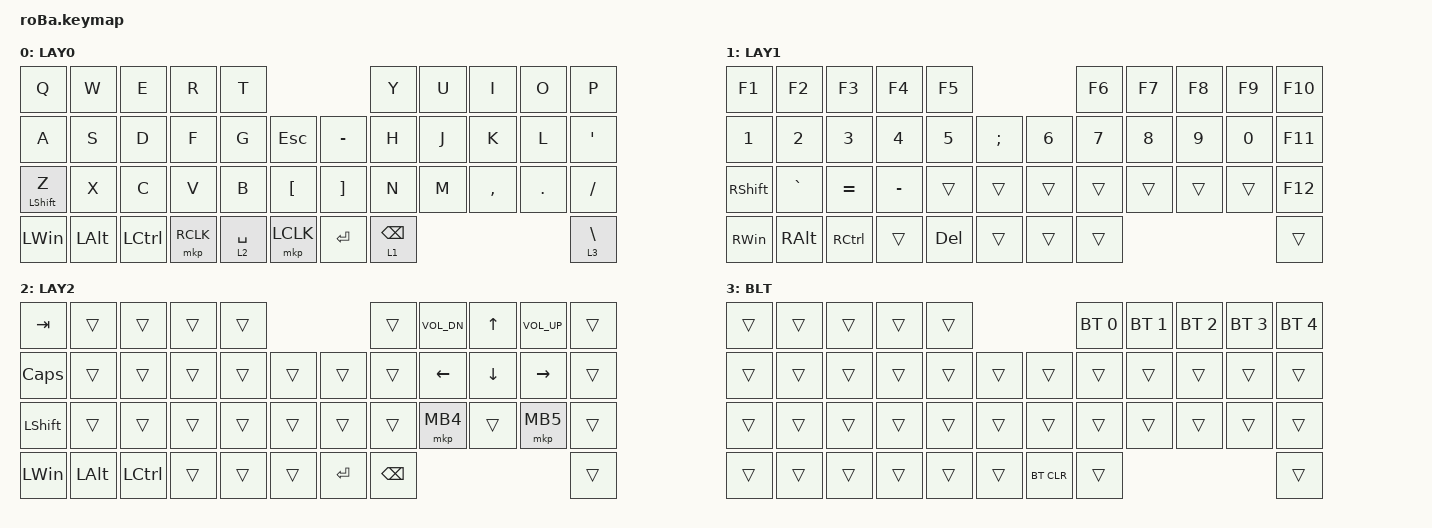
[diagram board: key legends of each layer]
#include <behaviors.dtsi>
#include <dt-bindings/zmk/bt.h>
#include <dt-bindings/zmk/keys.h>
#include <dt-bindings/zmk/pointing.h>

&mt {
    flavor = "balanced";
    quick-tap-ms = <0>;
};

&trackball {
    automouse-layer = <0>;
    scroll-layers = <2>;

    // arrows {
    //     layers = <3>;
    //     bindings =
    //         <&kp RIGHT_ARROW>,
    //         <&kp LEFT_ARROW>,
    //         <&kp UP_ARROW>,
    //         <&kp DOWN_ARROW>;
    //     tick = <10>;
    //     wait-ms = <5>;
    //     tap-ms = <5>;
    // };
};

/ {
    combos {
        compatible = "zmk,combos";

        tab {
            bindings = <&kp TAB>;
            key-positions = <18 19>;
        };

        CAPSL {
            bindings = <&kp CAPS>;
            key-positions = <13 12>;
        };
    };

    macros {
        to_layer_0: to_layer_0 {
            compatible = "zmk,behavior-macro-one-param";
            #binding-cells = <1>;
            bindings = <&to 0 &macro_param_1to1 &kp MACRO_PLACEHOLDER>;
            label = "TO_LAYER_0";
        };
    };

    behaviors {
        lt_to_layer_0: lt_to_layer_0 {
            compatible = "zmk,behavior-hold-tap";
            label = "LAYER_TAP_TO_0";
            bindings = <&mo>, <&to_layer_0>;

            #binding-cells = <2>;
            tapping-term-ms = <200>;
        };
    };

    keymap {
        compatible = "zmk,keymap";

        LAY0 {
            bindings = <
&kp Q             &kp W     &kp E      &kp R      &kp T                                  &kp Y            &kp U  &kp I      &kp O    &kp P
&kp A             &kp S     &kp D      &kp F      &kp G        &kp ESC        &kp MINUS  &kp H            &kp J  &kp K      &kp L    &kp SQT
&mt LEFT_SHIFT Z  &kp X     &kp C      &kp V      &kp B        &kp LBKT       &kp RBKT   &kp N            &kp M  &kp COMMA  &kp DOT  &kp SLASH
&kp LWIN          &kp LALT  &kp LCTRL  &mkp RCLK  &lt 2 SPACE  &mkp LCLK      &kp ENTER  &lt 1 BACKSPACE                             &lt 3 BSLH
            >;
        };

        LAY1 {
            bindings = <
&kp F1      &kp F2     &kp F3     &kp F4     &kp F5                         &kp F6  &kp F7  &kp F8  &kp F9  &kp F10
&kp N1      &kp N2     &kp N3     &kp N4     &kp N5   &kp SEMI      &kp N6  &kp N7  &kp N8  &kp N9  &kp N0  &kp F11
&kp RSHIFT  &kp GRAVE  &kp EQUAL  &kp MINUS  &trans   &trans        &trans  &trans  &trans  &trans  &trans  &kp F12
&kp RWIN    &kp RALT   &kp RCTRL  &trans     &kp DEL  &trans        &trans  &trans                          &trans
            >;
        };

        LAY2 {
            bindings = <
&kp TAB     &trans    &trans     &trans  &trans                         &trans         &kp C_VOL_DN  &kp UP    &kp C_VOL_UP  &trans
&kp CAPS    &trans    &trans     &trans  &trans  &trans      &trans     &trans         &kp LEFT      &kp DOWN  &kp RIGHT     &trans
&kp LSHIFT  &trans    &trans     &trans  &trans  &trans      &trans     &trans         &mkp MB4      &trans    &mkp MB5      &trans
&kp LWIN    &kp LALT  &kp LCTRL  &trans  &trans  &trans      &kp ENTER  &kp BACKSPACE                                        &trans
            >;
        };

        BLT {
            bindings = <
&trans  &trans  &trans  &trans  &trans                          &bt BT_SEL 0  &bt BT_SEL 1  &bt BT_SEL 2  &bt BT_SEL 3  &bt BT_SEL 4
&trans  &trans  &trans  &trans  &trans  &trans      &trans      &trans        &trans        &trans        &trans        &trans
&trans  &trans  &trans  &trans  &trans  &trans      &trans      &trans        &trans        &trans        &trans        &trans
&trans  &trans  &trans  &trans  &trans  &trans      &bt BT_CLR  &trans                                                  &trans
            >;
        };
    };
};
